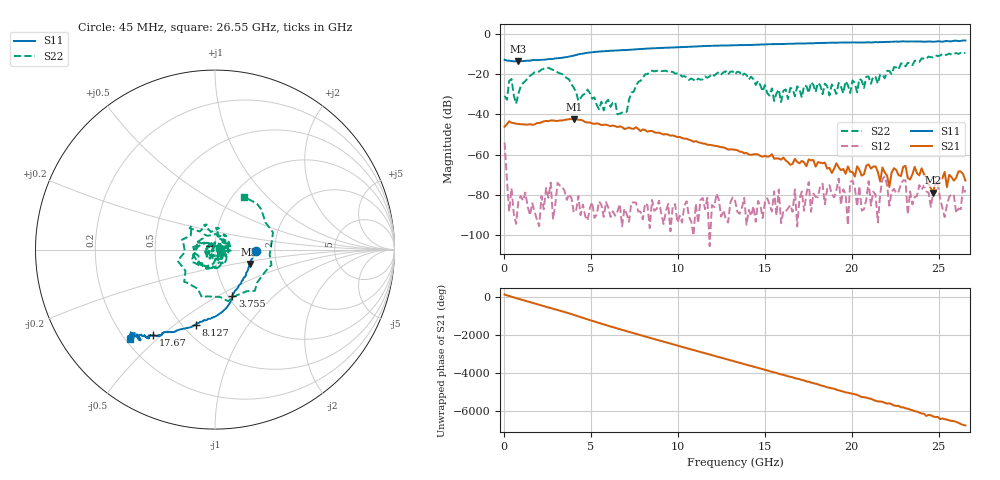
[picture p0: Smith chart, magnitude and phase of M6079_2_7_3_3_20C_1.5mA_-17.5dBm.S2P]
!  2-Port S-parameters saved by WinCal
! VAR MeasName=S-Parameters (CALIBRATED_DATA) read from VNA (C)
! VAR MeasDate=10/5/2015 6:38:45 PM
! VAR NAME=M6079_2_7_3_3_20C_1.5mA_-17.5dBm
! VAR FILENAME=M6079_2_7_3_3_20C_1.5mA_-17.5dBm.S2P
! VAR DATE=10/5/2015 6:38:45 PM
! VAR PHYS_PORTS=2,1
! VAR ObjTypeName=DATASET
! VAR IndexType=Frequency
# Hz S DB R 50
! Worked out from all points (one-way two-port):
!   201 points, 45 MHz to 26.55 GHz, reference 50 ohm
!   highest |S21| = -42.22 dB at 4.02 GHz (marker M1); lowest = -78.8 dB at 24.69 GHz (marker M2)
!   lowest |S11| = -13.6 dB at 840 MHz (marker M3), VSWR 1.53, Z = 72.7 - j12.1 ohm
!   |S11| at or under -10 dB: start of sweep to 4.353 GHz
!   |S22| runs from -40.0 to -9.2 dB; largest |S21 - S12| = 0.0078
!   S11 on the Smith chart (normalised r, x): 45 MHz: 1.59, -0.02; 3.755 GHz: 1.05, -0.58; 8.127 GHz: 0.58, -0.60; 17.67 GHz: 0.32, -0.47; 26.55 GHz: 0.22, -0.41
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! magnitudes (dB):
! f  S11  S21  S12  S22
! 45 MHz  -12.8  -46.1  -54.0  -30.8
! 310 MHz  -13.2  -43.4  -88.3  -23.3
! 840 MHz  -13.6  -44.7  -82.7  -29.7
! 2.297 GHz  -12.8  -43.4  -87.2  -17.2
! 3.755 GHz  -11.2  -42.4  -79.6  -22.6
! 4.02 GHz  -10.7  -42.2  -88.6  -26.7
! 4.55 GHz  -9.7  -43.0  -84.8  -30.2
! 7.067 GHz  -7.9  -46.9  -89.6  -38.7
! 8.127 GHz  -7.3  -47.8  -84.1  -20.0
! 8.922 GHz  -7.0  -49.0  -82.9  -18.0
! 13.29 GHz  -5.6  -57.6  -82.8  -20.1
! 15.95 GHz  -4.9  -62.5  -94.1  -33.8
! 17.67 GHz  -4.6  -62.8  -88.5  -24.0
! 17.8 GHz  -4.6  -62.6  -79.3  -25.3
! 19.26 GHz  -4.3  -66.3  -71.8  -24.3
! 21.51 GHz  -4.1  -68.6  -93.7  -24.7
! 21.91 GHz  -3.9  -68.9  -70.9  -22.0
! 22.17 GHz  -3.9  -76.1  -85.4  -18.4
! 23.63 GHz  -3.7  -66.1  -81.1  -13.2
! 24.69 GHz  -3.8  -78.8  -79.0  -11.5
! 25.35 GHz  -3.6  -68.6  -91.0  -10.5
! 26.55 GHz  -3.2  -72.8  -78.8  -9.5
